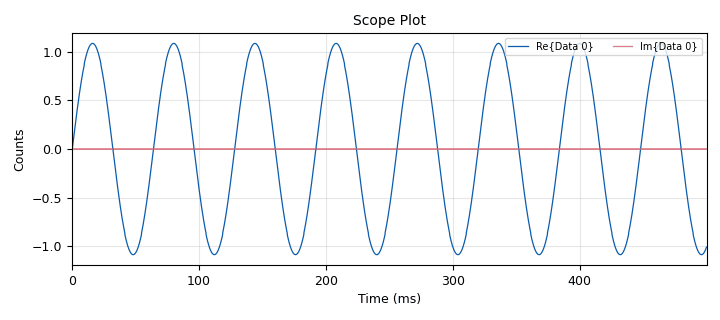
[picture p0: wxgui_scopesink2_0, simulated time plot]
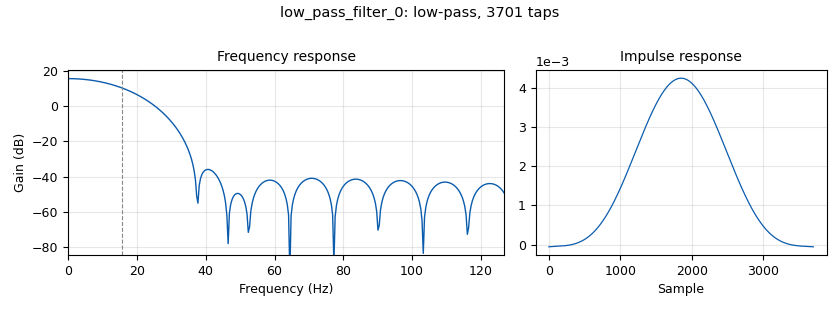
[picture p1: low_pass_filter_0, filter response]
<?xml version='1.0' encoding='utf-8'?>
<flow_graph>
<block>
<key>options</key>
<param><key>id</key><value>psk_beacon_pulses</value></param>
<param><key>title</key><value>PSK31 Beacon</value></param>
<param><key>author</key><value>ELEC350</value></param>
<param><key>generate_options</key><value>wx_gui</value></param>
<param><key>category</key><value>Custom</value></param>
</block>
<block>
<key>variable</key>
<param><key>id</key><value>l_samp_rate</value></param>
<param><key>value</key><value>8000</value></param>
</block>
<block>
<key>variable</key>
<param><key>id</key><value>samp_rate</value></param>
<param><key>value</key><value>48e3</value></param>
</block>
<block>
<key>variable_slider</key>
<param><key>id</key><value>fine</value></param>
<param><key>label</key><value>Fine Offset</value></param>
<param><key>value</key><value>0</value></param>
<param><key>min</key><value>-100</value></param>
<param><key>max</key><value>100</value></param>
<param><key>num_steps</key><value>200</value></param>
<param><key>style</key><value>wx.SL_HORIZONTAL</value></param>
<param><key>converver</key><value>float_converter</value></param>
<param><key>grid_pos</key><value>[0, 1, 1, 1]</value></param>
</block>
<block>
<key>blocks_multiply_xx</key>
<param><key>id</key><value>blocks_multiply_xx_0</value></param>
<param><key>type</key><value>complex</value></param>
</block>
<block>
<key>analog_sig_source_x</key>
<param><key>id</key><value>analog_sig_source_x_0</value></param>
<param><key>type</key><value>complex</value></param>
<param><key>samp_rate</key><value>samp_rate</value></param>
<param><key>waveform</key><value>analog.GR_COS_WAVE</value></param>
<param><key>freq</key><value>freq+fine</value></param>
<param><key>amp</key><value>1</value></param>
<param><key>offset</key><value>0</value></param>
</block>
<block>
<key>wxgui_scopesink2</key>
<param><key>id</key><value>wxgui_scopesink2_0</value></param>
<param><key>type</key><value>complex</value></param>
<param><key>title</key><value>Scope Plot</value></param>
<param><key>samp_rate</key><value>samp_rate</value></param>
<param><key>v_scale</key><value>0.5</value></param>
<param><key>v_offset</key><value>0</value></param>
<param><key>t_scale</key><value>0.05</value></param>
<param><key>ac_couple</key><value>False</value></param>
<param><key>xy_mode</key><value>False</value></param>
<param><key>num_inputs</key><value>1</value></param>
<param><key>trig_mode</key><value>wxgui.TRIG_MODE_AUTO</value></param>
<param><key>y_axis_label</key><value>Counts</value></param>
</block>
<block>
<key>blocks_float_to_complex</key>
<param><key>id</key><value>blocks_float_to_complex_0</value></param>
</block>
<block>
<key>blocks_null_source</key>
<param><key>id</key><value>blocks_null_source_0</value></param>
<param><key>type</key><value>float</value></param>
</block>
<block>
<key>blocks_throttle</key>
<param><key>id</key><value>blocks_throttle_0</value></param>
<param><key>type</key><value>float</value></param>
<param><key>samples_per_second</key><value>l_samp_rate</value></param>
</block>
<block>
<key>low_pass_filter</key>
<param><key>id</key><value>low_pass_filter_0</value></param>
<param><key>type</key><value>interp_fir_filter_fff</value></param>
<param><key>interp</key><value>int(samp_rate/l_samp_rate)</value></param>
<param><key>gain</key><value>6</value></param>
<param><key>samp_rate</key><value>samp_rate</value></param>
<param><key>cutoff_freq</key><value>31.25/2</value></param>
<param><key>width</key><value>31.25</value></param>
<param><key>win</key><value>firdes.WIN_HAMMING</value></param>
</block>
<block>
<key>variable_slider</key>
<param><key>id</key><value>freq</value></param>
<param><key>label</key><value>Coarse Offset</value></param>
<param><key>value</key><value>0</value></param>
<param><key>min</key><value>-samp_rate/2</value></param>
<param><key>max</key><value>samp_rate/2</value></param>
<param><key>num_steps</key><value>480</value></param>
<param><key>style</key><value>wx.SL_HORIZONTAL</value></param>
<param><key>converver</key><value>float_converter</value></param>
<param><key>grid_pos</key><value>[0, 0, 1, 1]</value></param>
</block>
<block>
<key>interp_fir_filter_xxx</key>
<param><key>id</key><value>interp_fir_filter_xxx_0</value></param>
<param><key>type</key><value>fff</value></param>
<param><key>interp</key><value>int(l_samp_rate/31.25)</value></param>
<param><key>taps</key><value>[l_samp_rate/31.25]</value></param>
</block>
<block>
<key>blocks_file_source</key>
<param><key>id</key><value>blocks_file_source_0</value></param>
<param><key>_enabled</key><value>False</value></param>
<param><key>type</key><value>float</value></param>
<param><key>repeat</key><value>True</value></param>
</block>
<block>
<key>analog_sig_source_x</key>
<param><key>id</key><value>analog_sig_source_x_1</value></param>
<param><key>type</key><value>float</value></param>
<param><key>samp_rate</key><value>31.25</value></param>
<param><key>waveform</key><value>analog.GR_SQR_WAVE</value></param>
<param><key>freq</key><value>15.625</value></param>
<param><key>amp</key><value>2</value></param>
<param><key>offset</key><value>-1</value></param>
</block>
<connection><source_block_id>analog_sig_source_x_0</source_block_id><sink_block_id>blocks_multiply_xx_0</sink_block_id><source_key>0</source_key><sink_key>1</sink_key></connection>
<connection><source_block_id>blocks_multiply_xx_0</source_block_id><sink_block_id>wxgui_scopesink2_0</sink_block_id><source_key>0</source_key><sink_key>0</sink_key></connection>
<connection><source_block_id>low_pass_filter_0</source_block_id><sink_block_id>blocks_float_to_complex_0</sink_block_id><source_key>0</source_key><sink_key>0</sink_key></connection>
<connection><source_block_id>blocks_float_to_complex_0</source_block_id><sink_block_id>blocks_multiply_xx_0</sink_block_id><source_key>0</source_key><sink_key>0</sink_key></connection>
<connection><source_block_id>blocks_null_source_0</source_block_id><sink_block_id>blocks_float_to_complex_0</sink_block_id><source_key>0</source_key><sink_key>1</sink_key></connection>
<connection><source_block_id>blocks_file_source_0</source_block_id><sink_block_id>interp_fir_filter_xxx_0</sink_block_id><source_key>0</source_key><sink_key>0</sink_key></connection>
<connection><source_block_id>interp_fir_filter_xxx_0</source_block_id><sink_block_id>blocks_throttle_0</sink_block_id><source_key>0</source_key><sink_key>0</sink_key></connection>
<connection><source_block_id>blocks_throttle_0</source_block_id><sink_block_id>low_pass_filter_0</sink_block_id><source_key>0</source_key><sink_key>0</sink_key></connection>
<connection><source_block_id>analog_sig_source_x_1</source_block_id><sink_block_id>interp_fir_filter_xxx_0</sink_block_id><source_key>0</source_key><sink_key>0</sink_key></connection>
</flow_graph>
